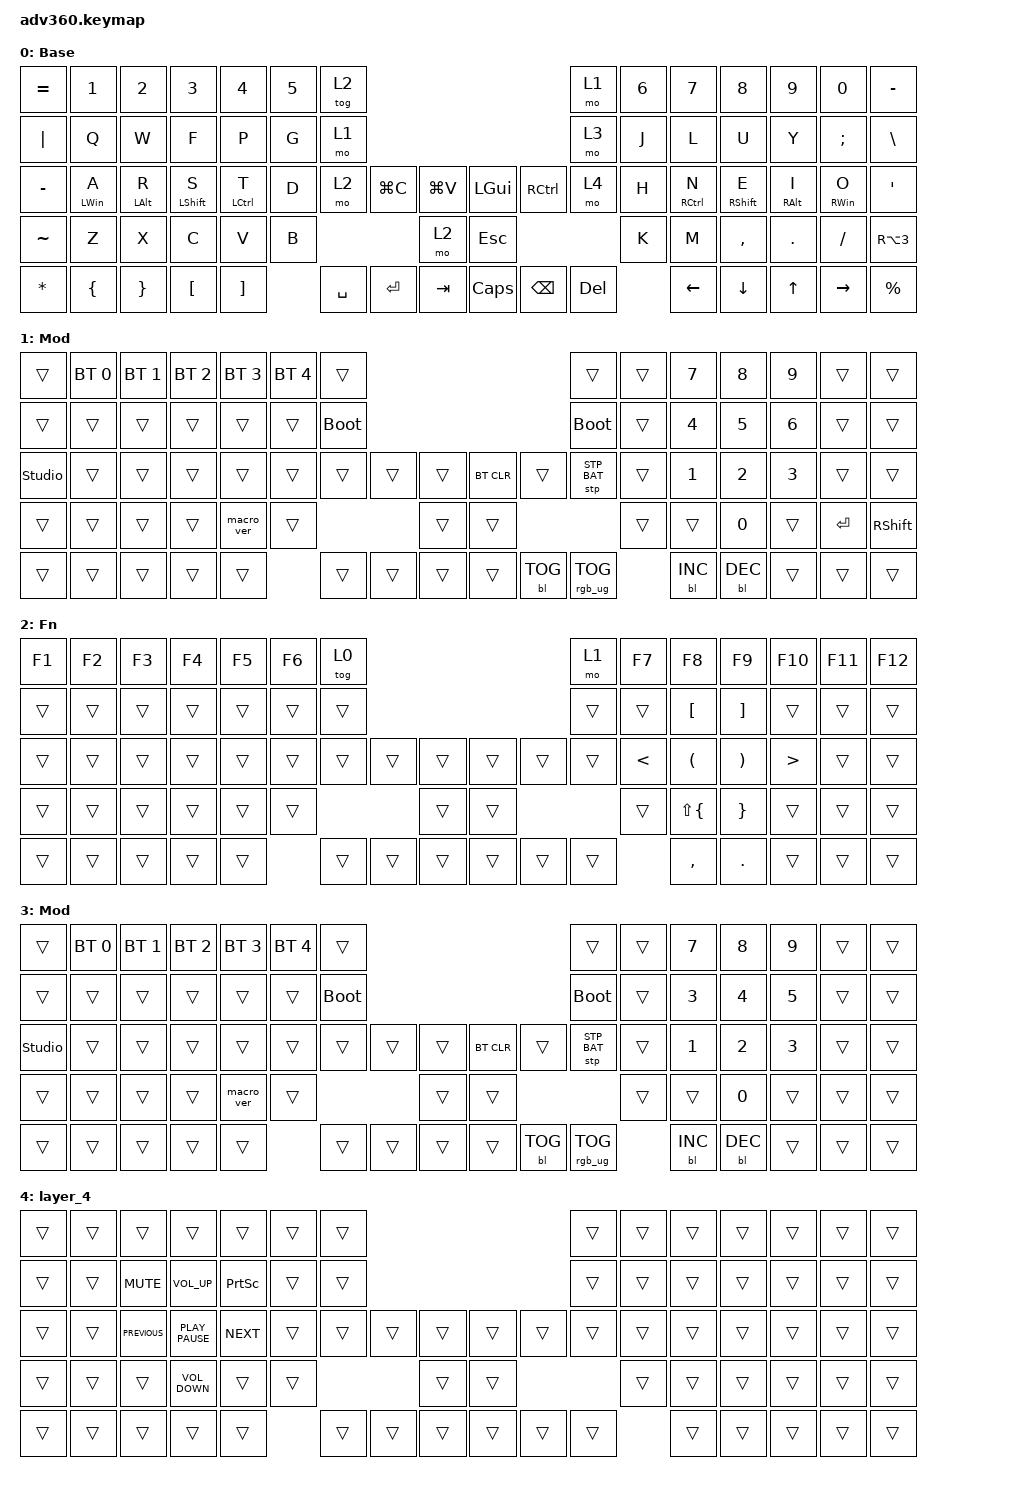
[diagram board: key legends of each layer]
#include <dt-bindings/zmk/stp.h>
#include <behaviors.dtsi>
#include <dt-bindings/zmk/backlight.h>
#include <dt-bindings/zmk/bt.h>
#include <dt-bindings/zmk/keys.h>
#include <dt-bindings/zmk/rgb.h>

/ {
    behaviors {
        #include "macros.dtsi"
      #include "version.dtsi"

        hm: homerow_mods {
            compatible = "zmk,behavior-hold-tap";
            label = "HOMEROW_MODS";
            #binding-cells = <2>;
            tapping-term-ms = <300>;
            flavor = "balanced";
            bindings = <&kp>, <&kp>;

            hold-trigger-key-positions = <32 31 30 29 41 42 43 44>;
            require-prior-idle-ms = <150>;
            quick-tap-ms = <175>;
        };

        hm_l: hm_l {
            compatible = "zmk,behavior-hold-tap";
            label = "HM_L";
            #binding-cells = <2>;
            tapping-term-ms = <280>;
            flavor = "balanced";
            bindings = <&kp>, <&kp>;

            require-prior-idle-ms = <150>;
            quick-tap-ms = <175>;
            hold-trigger-key-positions = <7 8 9 10 11 12 13 21 22 23 24 25 26 27 38 39 40 41 42 43 44 45 54 55 56 57 58 59 69 70 71 72 73 74 75 68 37 53>;
            hold-trigger-on-release;
        };

        hm_r: hm_r {
            compatible = "zmk,behavior-hold-tap";
            label = "HM_R";
            #binding-cells = <2>;
            tapping-term-ms = <280>;
            flavor = "balanced";
            bindings = <&kp>, <&kp>;

            require-prior-idle-ms = <150>;
            quick-tap-ms = <175>;
            hold-trigger-on-release;
            hold-trigger-key-positions = <0 1 2 3 4 5 6 14 15 16 17 18 19 20 28 29 30 31 32 33 34 35 36 46 47 48 49 50 51 52 60 61 62 63 64 65 66 67>;
        };
    };

    keymap {
        compatible = "zmk,keymap";

        default_layer {
            display-name = "Base";
            bindings = <
&kp EQUAL  &kp N1            &kp N2            &kp N3              &kp N4                &kp N5  &tog 2                                                      &mo 1       &kp N6  &kp N7                 &kp N8               &kp N9             &kp N0             &kp MINUS
&kp PIPE   &kp Q             &kp W             &kp F               &kp P                 &kp G   &mo 1                                                       &mo 3       &kp J   &kp L                  &kp U                &kp Y              &kp SEMI           &kp BSLH
&kp MINUS  &hm_l LEFT_WIN A  &hm_l LEFT_ALT R  &hm_l LEFT_SHIFT S  &hm_l LEFT_CONTROL T  &kp D   &mo 2      &kp LG(C)  &kp LG(V)      &kp LGUI    &kp RCTRL  &mo 4       &kp H   &hm_r RIGHT_CONTROL N  &hm_r RIGHT_SHIFT E  &hm_r RIGHT_ALT I  &hm_r RIGHT_WIN O  &kp SQT
&kp TILDE  &kp Z             &kp X             &kp C               &kp V                 &kp B                         &mo 2          &kp ESCAPE                         &kp K   &kp M                  &kp COMMA            &kp DOT            &kp FSLH           &kp RA(NUMBER_3)
&kp STAR   &kp LEFT_BRACE    &kp RIGHT_BRACE   &kp LEFT_BRACKET    &kp RIGHT_BRACKET             &kp SPACE  &kp ENTER  &kp TAB        &kp CAPS    &kp BSPC   &kp DELETE          &kp LEFT               &kp DOWN             &kp UP             &kp RIGHT          &kp PERCENT
            >;
        };

        kp {
            display-name = "Mod";
            bindings = <
&trans          &bt BT_SEL 0  &bt BT_SEL 1  &bt BT_SEL 2  &bt BT_SEL 3  &bt BT_SEL 4  &trans                                                   &trans           &trans  &kp N7        &kp N8        &kp N9  &trans     &trans
&trans          &trans        &trans        &trans        &trans        &trans        &bootloader                                              &bootloader      &trans  &kp N4        &kp N5        &kp N6  &trans     &trans
&studio_unlock  &trans        &trans        &trans        &trans        &trans        &trans       &trans  &trans      &bt BT_CLR  &trans      &stp STP_BAT     &trans  &kp NUMBER_1  &kp NUMBER_2  &kp N3  &trans     &trans
&trans          &trans        &trans        &trans        &macro_ver    &trans                             &trans      &trans                                   &trans  &trans        &kp N0        &trans  &kp ENTER  &kp RSHFT
&trans          &trans        &trans        &trans        &trans                      &trans       &trans  &trans      &trans      &bl BL_TOG  &rgb_ug RGB_TOG          &bl BL_INC    &bl BL_DEC    &trans  &trans     &trans
            >;

            label = "kp";
        };

        fn {
            display-name = "Fn";
            bindings = <
&kp F1  &kp F2  &kp F3  &kp F4  &kp F5  &kp F6  &tog 0                                      &mo 1   &kp F7         &kp F8                &kp F9                 &kp F10           &kp F11  &kp F12
&trans  &trans  &trans  &trans  &trans  &trans  &trans                                      &trans  &trans         &kp LBKT              &kp RBKT               &trans            &trans   &trans
&trans  &trans  &trans  &trans  &trans  &trans  &trans  &trans  &trans      &trans  &trans  &trans  &kp LESS_THAN  &kp LEFT_PARENTHESIS  &kp RIGHT_PARENTHESIS  &kp GREATER_THAN  &trans   &trans
&trans  &trans  &trans  &trans  &trans  &trans                  &trans      &trans                  &trans         &kp LS(LEFT_BRACE)    &kp RIGHT_BRACE        &trans            &trans   &trans
&trans  &trans  &trans  &trans  &trans          &trans  &trans  &trans      &trans  &trans  &trans                 &kp COMMA             &kp DOT                &trans            &trans   &trans
            >;
        };

        mod {
            display-name = "Mod";
            bindings = <
&trans          &bt BT_SEL 0  &bt BT_SEL 1  &bt BT_SEL 2  &bt BT_SEL 3  &bt BT_SEL 4  &trans                                                   &trans           &trans  &kp N7        &kp N8        &kp N9  &trans  &trans
&trans          &trans        &trans        &trans        &trans        &trans        &bootloader                                              &bootloader      &trans  &kp N3        &kp N4        &kp N5  &trans  &trans
&studio_unlock  &trans        &trans        &trans        &trans        &trans        &trans       &trans  &trans      &bt BT_CLR  &trans      &stp STP_BAT     &trans  &kp NUMBER_1  &kp NUMBER_2  &kp N3  &trans  &trans
&trans          &trans        &trans        &trans        &macro_ver    &trans                             &trans      &trans                                   &trans  &trans        &kp N0        &trans  &trans  &trans
&trans          &trans        &trans        &trans        &trans                      &trans       &trans  &trans      &trans      &bl BL_TOG  &rgb_ug RGB_TOG          &bl BL_INC    &bl BL_DEC    &trans  &trans  &trans
            >;
        };

        layer_4 {
            bindings = <
&trans  &trans  &trans          &trans             &trans           &trans  &trans                                      &trans  &trans  &trans  &trans  &trans  &trans  &trans
&trans  &trans  &kp K_MUTE      &kp C_VOLUME_UP    &kp PRINTSCREEN  &trans  &trans                                      &trans  &trans  &trans  &trans  &trans  &trans  &trans
&trans  &trans  &kp K_PREVIOUS  &kp K_PLAY_PAUSE   &kp K_NEXT       &trans  &trans  &trans  &trans      &trans  &trans  &trans  &trans  &trans  &trans  &trans  &trans  &trans
&trans  &trans  &trans          &kp C_VOLUME_DOWN  &trans           &trans                  &trans      &trans                  &trans  &trans  &trans  &trans  &trans  &trans
&trans  &trans  &trans          &trans             &trans                   &trans  &trans  &trans      &trans  &trans  &trans          &trans  &trans  &trans  &trans  &trans
            >;
        };
    };
};
